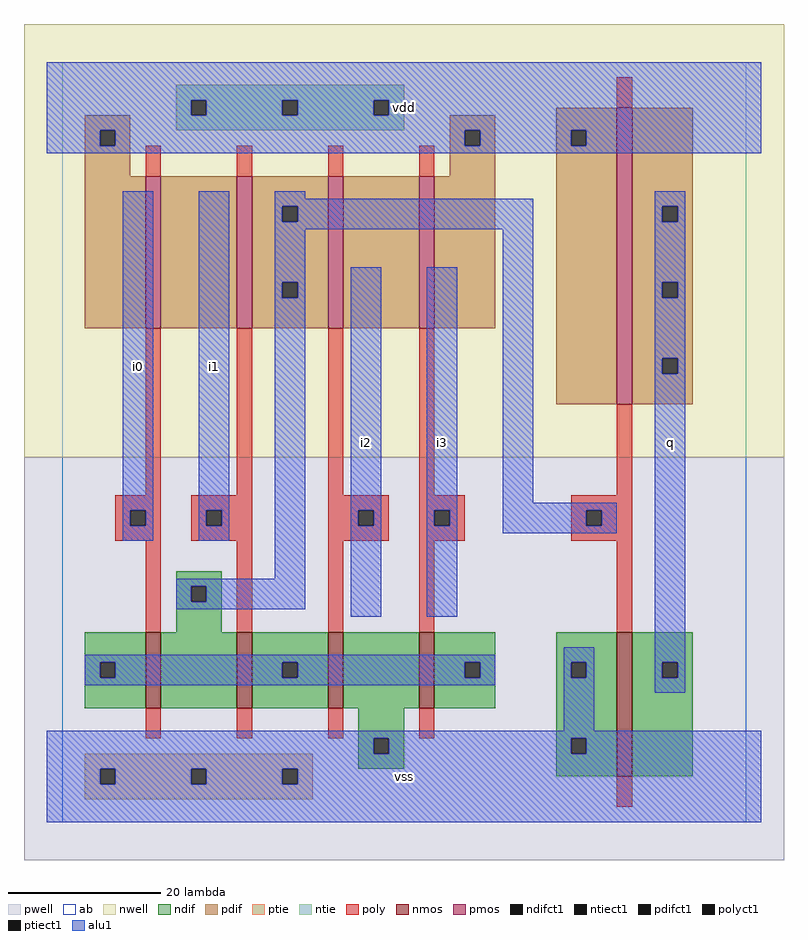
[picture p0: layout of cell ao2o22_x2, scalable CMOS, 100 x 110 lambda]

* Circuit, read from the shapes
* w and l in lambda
.subckt ao2o22_x2 i0 i1 i2 i3 q vdd vss
M1 n1 i0 n2 vss nfet w=10 l=2
M2 n2 i1 n1 vss nfet w=10 l=2
M3 vss i2 n2 vss nfet w=10 l=2
M4 n2 i3 vss vss nfet w=10 l=2
M5 q n1 vss vss nfet w=19 l=2
M6 n3 i0 vdd vdd pfet w=20 l=2
M7 n1 i1 n3 vdd pfet w=20 l=2
M8 n4 i2 n1 vdd pfet w=20 l=2
M9 vdd i3 n4 vdd pfet w=20 l=2
M10 q n1 vdd vdd pfet w=39 l=2
.ends

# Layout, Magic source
magic
tech scmos
<< ab >>
rect 0 0 90 100
<< nwell >>
rect -5 48 95 105
<< pwell >>
rect -5 -5 95 48
<< poly >>
rect 73 94 75 98
rect 11 85 13 89
rect 23 85 25 89
rect 35 85 37 89
rect 47 85 49 89
rect 11 43 13 65
rect 23 43 25 65
rect 7 41 13 43
rect 7 39 9 41
rect 11 39 13 41
rect 7 37 13 39
rect 17 41 25 43
rect 17 39 19 41
rect 21 39 25 41
rect 17 37 25 39
rect 11 25 13 37
rect 23 25 25 37
rect 35 43 37 65
rect 47 43 49 65
rect 73 43 75 55
rect 35 41 43 43
rect 35 39 39 41
rect 41 39 43 41
rect 35 37 43 39
rect 47 41 53 43
rect 47 39 49 41
rect 51 39 53 41
rect 47 37 53 39
rect 67 41 75 43
rect 67 39 69 41
rect 71 39 75 41
rect 67 37 75 39
rect 35 25 37 37
rect 47 25 49 37
rect 73 25 75 37
rect 11 11 13 15
rect 23 11 25 15
rect 35 11 37 15
rect 47 11 49 15
rect 73 2 75 6
<< ndif >>
rect 15 31 21 33
rect 15 29 17 31
rect 19 29 21 31
rect 15 25 21 29
rect 3 21 11 25
rect 3 19 5 21
rect 7 19 11 21
rect 3 15 11 19
rect 13 15 23 25
rect 25 21 35 25
rect 25 19 29 21
rect 31 19 35 21
rect 25 15 35 19
rect 37 15 47 25
rect 49 21 57 25
rect 49 19 53 21
rect 55 19 57 21
rect 49 15 57 19
rect 65 21 73 25
rect 65 19 67 21
rect 69 19 73 21
rect 39 11 45 15
rect 65 11 73 19
rect 39 9 41 11
rect 43 9 45 11
rect 39 7 45 9
rect 65 9 67 11
rect 69 9 73 11
rect 65 6 73 9
rect 75 21 83 25
rect 75 19 79 21
rect 81 19 83 21
rect 75 6 83 19
<< pdif >>
rect 3 91 9 93
rect 51 91 57 93
rect 3 89 5 91
rect 7 89 9 91
rect 51 89 53 91
rect 55 89 57 91
rect 3 85 9 89
rect 51 85 57 89
rect 3 65 11 85
rect 13 65 23 85
rect 25 81 35 85
rect 25 79 29 81
rect 31 79 35 81
rect 25 71 35 79
rect 25 69 29 71
rect 31 69 35 71
rect 25 65 35 69
rect 37 65 47 85
rect 49 65 57 85
rect 65 91 73 94
rect 65 89 67 91
rect 69 89 73 91
rect 65 55 73 89
rect 75 81 83 94
rect 75 79 79 81
rect 81 79 83 81
rect 75 71 83 79
rect 75 69 79 71
rect 81 69 83 71
rect 75 61 83 69
rect 75 59 79 61
rect 81 59 83 61
rect 75 55 83 59
<< alu1 >>
rect -2 95 92 100
rect -2 93 17 95
rect 19 93 29 95
rect 31 93 41 95
rect 43 93 92 95
rect -2 91 92 93
rect -2 89 5 91
rect 7 89 53 91
rect 55 89 67 91
rect 69 89 92 91
rect -2 88 92 89
rect 8 41 12 83
rect 8 39 9 41
rect 11 39 12 41
rect 8 37 12 39
rect 18 41 22 83
rect 18 39 19 41
rect 21 39 22 41
rect 18 37 22 39
rect 28 82 32 83
rect 28 81 62 82
rect 28 79 29 81
rect 31 79 62 81
rect 28 78 62 79
rect 28 71 32 78
rect 28 69 29 71
rect 31 69 32 71
rect 28 32 32 69
rect 15 31 32 32
rect 15 29 17 31
rect 19 29 32 31
rect 15 28 32 29
rect 38 41 42 73
rect 38 39 39 41
rect 41 39 42 41
rect 38 27 42 39
rect 48 41 52 73
rect 48 39 49 41
rect 51 39 52 41
rect 48 27 52 39
rect 58 42 62 78
rect 78 81 82 83
rect 78 79 79 81
rect 81 79 82 81
rect 78 71 82 79
rect 78 69 79 71
rect 81 69 82 71
rect 78 61 82 69
rect 78 59 79 61
rect 81 59 82 61
rect 58 41 73 42
rect 58 39 69 41
rect 71 39 73 41
rect 58 38 73 39
rect 3 21 57 22
rect 3 19 5 21
rect 7 19 29 21
rect 31 19 53 21
rect 55 19 57 21
rect 3 18 57 19
rect 66 21 70 23
rect 66 19 67 21
rect 69 19 70 21
rect 66 12 70 19
rect 78 21 82 59
rect 78 19 79 21
rect 81 19 82 21
rect 78 17 82 19
rect -2 11 92 12
rect -2 9 41 11
rect 43 9 67 11
rect 69 9 92 11
rect -2 7 92 9
rect -2 5 5 7
rect 7 5 17 7
rect 19 5 29 7
rect 31 5 92 7
rect -2 0 92 5
<< ptie >>
rect 3 7 33 9
rect 3 5 5 7
rect 7 5 17 7
rect 19 5 29 7
rect 31 5 33 7
rect 3 3 33 5
<< ntie >>
rect 15 95 45 97
rect 15 93 17 95
rect 19 93 29 95
rect 31 93 41 95
rect 43 93 45 95
rect 15 91 45 93
<< nmos >>
rect 11 15 13 25
rect 23 15 25 25
rect 35 15 37 25
rect 47 15 49 25
rect 73 6 75 25
<< pmos >>
rect 11 65 13 85
rect 23 65 25 85
rect 35 65 37 85
rect 47 65 49 85
rect 73 55 75 94
<< polyct1 >>
rect 9 39 11 41
rect 19 39 21 41
rect 39 39 41 41
rect 49 39 51 41
rect 69 39 71 41
<< ndifct1 >>
rect 17 29 19 31
rect 5 19 7 21
rect 29 19 31 21
rect 53 19 55 21
rect 67 19 69 21
rect 41 9 43 11
rect 67 9 69 11
rect 79 19 81 21
<< ntiect1 >>
rect 17 93 19 95
rect 29 93 31 95
rect 41 93 43 95
<< ptiect1 >>
rect 5 5 7 7
rect 17 5 19 7
rect 29 5 31 7
<< pdifct1 >>
rect 5 89 7 91
rect 53 89 55 91
rect 29 79 31 81
rect 29 69 31 71
rect 67 89 69 91
rect 79 79 81 81
rect 79 69 81 71
rect 79 59 81 61
<< labels >>
rlabel alu1 10 60 10 60 6 i0
rlabel alu1 40 50 40 50 6 i2
rlabel alu1 20 60 20 60 6 i1
rlabel alu1 45 6 45 6 6 vss
rlabel alu1 50 50 50 50 6 i3
rlabel alu1 45 94 45 94 6 vdd
rlabel alu1 80 50 80 50 6 q
<< end >>
